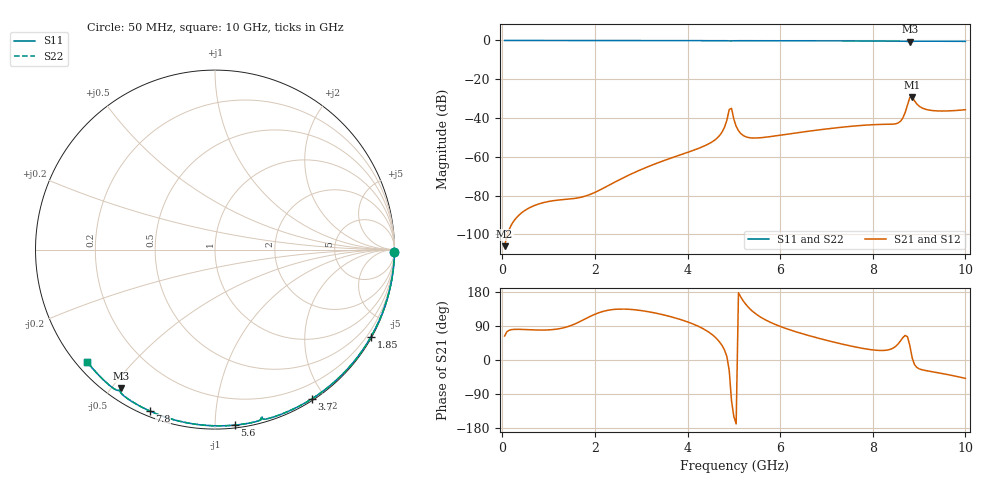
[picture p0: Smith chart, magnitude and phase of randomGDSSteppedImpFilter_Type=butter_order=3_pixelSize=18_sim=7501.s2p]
! freq	dB(S11)	phase(S11)	dB(S12)	phase(S12)
!  dB(S21)	phase(S21)	dB(S22)	phase(S22)
!S-par simulation data
#  GHz  S  DB  R 50
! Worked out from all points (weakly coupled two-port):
!   200 points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, 50 MHz to 10 GHz, reference 50 ohm
!   highest |S21| = -29.25 dB at 8.85 GHz (marker M1); lowest = -106.1 dB at 50 MHz (marker M2)
!   lowest |S11| = -0.6 dB at 8.8 GHz (marker M3), VSWR 28.81, Z = 2.22 - j26.5 ohm
!   |S11| at or under -10 dB: nowhere
!   |S22| runs from -0.6 to 0.0 dB; largest |S21 - S12| = 0
!   S11 on the Smith chart (normalised r, x): 50 MHz: open; 1.85 GHz: 0.03, -3.83; 3.7 GHz: 0.02, -1.84; 5.6 GHz: 0.02, -1.12; 7.8 GHz: 0.02, -0.67; 10 GHz: 0.03, -0.38
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0.05  -0.00 -0.8  -106.14 63.2  -106.14 63.2  -0.00 -0.8
1.75  -0.04 -27.7  -80.61 105.9  -80.61 105.9  -0.04 -27.7
1.85  -0.04 -29.2  -79.86 112.2  -79.86 112.2  -0.04 -29.2
3.4  -0.07 -52.7  -62.78 121.4  -62.78 121.4  -0.07 -52.7
3.7  -0.08 -57.1  -60.21 112.2  -60.21 112.2  -0.08 -57.1
4.6  -0.10 -70.0  -51.18 59.8  -51.18 59.8  -0.10 -70.0
4.8  -0.12 -73.0  -44.67 25.9  -44.67 25.9  -0.12 -73.0
4.9  -0.23 -74.8  -35.62 -27.3  -35.62 -27.3  -0.23 -74.8
4.95  -0.27 -74.2  -35.04 -107.9  -35.04 -107.9  -0.27 -74.2
5.05  -0.14 -75.8  -44.28 -168.7  -44.28 -168.7  -0.14 -75.8
5.25  -0.13 -78.7  -49.61 148.2  -49.61 148.2  -0.13 -78.7
5.6  -0.14 -83.5  -50.14 111.5  -50.14 111.5  -0.14 -83.5
6.7  -0.19 -98.0  -46.55 61.7  -46.55 61.7  -0.19 -98.1
7.8  -0.26 -112.0  -43.76 30.3  -43.76 30.3  -0.26 -112.0
8.35  -0.32 -118.9  -43.25 27.2  -43.25 27.2  -0.32 -118.9
8.6  -0.36 -122.2  -41.65 50.7  -41.65 50.7  -0.36 -122.2
8.7  -0.42 -123.6  -37.13 64.9  -37.13 64.9  -0.42 -123.7
8.8  -0.60 -124.2  -29.45 38.5  -29.45 38.5  -0.60 -124.2
8.85  -0.52 -123.8  -29.25 5.9  -29.25 5.9  -0.52 -123.8
9  -0.37 -126.1  -33.86 -23.2  -33.86 -23.2  -0.37 -126.1
9.15  -0.38 -128.1  -35.58 -28.0  -35.58 -28.0  -0.38 -128.1
10  -0.47 -138.7  -35.74 -48.5  -35.74 -48.5  -0.47 -138.7
